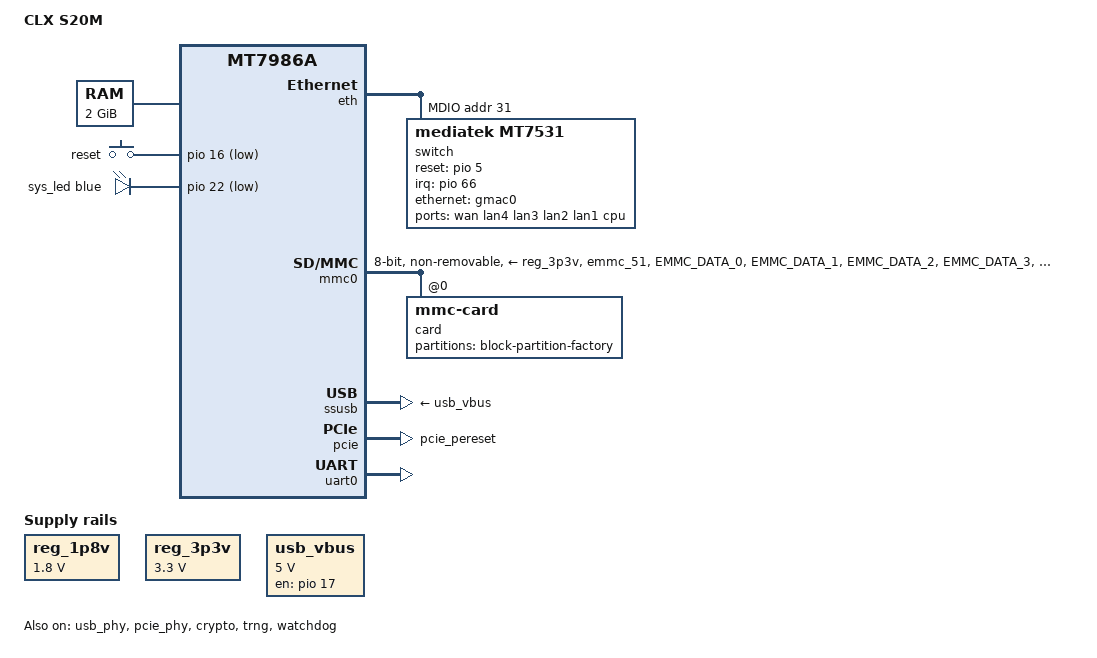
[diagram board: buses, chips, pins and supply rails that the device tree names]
// SPDX-License-Identifier: GPL-2.0-or-later OR MIT

/dts-v1/;
#include <dt-bindings/gpio/gpio.h>
#include <dt-bindings/input/input.h>
#include <dt-bindings/leds/common.h>

#include "mt7986a.dtsi"

/ {
	model = "CLX S20M";
	compatible = "clx,s20m", "mediatek,mt7986a";

	aliases {
		serial0 = &uart0;
		led-boot = &sys_led;
		led-failsafe = &sys_led;
		led-running = &sys_led;
		led-upgrade = &sys_led;
		label-mac-device = &gmac0;
	};

	chosen {
		stdout-path = "serial0:115200n8";
		bootargs-append = " root=PARTLABEL=rootfs rootwait";
	};

	memory {
		reg = <0 0x40000000 0 0x80000000>;
	};

	gpio-keys {
		compatible = "gpio-keys";

		button-reset {
			label = "reset";
			linux,code = <KEY_RESTART>;
			gpios = <&pio 16 GPIO_ACTIVE_LOW>;
		};
	};

	gpio-leds {
		compatible = "gpio-leds";

		sys_led: sys-led {
			function = LED_FUNCTION_STATUS;
			color = <LED_COLOR_ID_BLUE>;
			gpios = <&pio 22 GPIO_ACTIVE_LOW>;
		};
	};

	reg_1p8v: regulator-1p8v {
		compatible = "regulator-fixed";
		regulator-name = "fixed-1.8V";
		regulator-min-microvolt = <1800000>;
		regulator-max-microvolt = <1800000>;
		regulator-boot-on;
		regulator-always-on;
	};

	reg_3p3v: regulator-3p3v {
		compatible = "regulator-fixed";
		regulator-name = "fixed-3.3V";
		regulator-min-microvolt = <3300000>;
		regulator-max-microvolt = <3300000>;
		regulator-boot-on;
		regulator-always-on;
	};

	usb_vbus: regulator-usb-vbus {
		compatible = "regulator-fixed";
		regulator-name = "usb_vbus";
		regulator-min-microvolt = <5000000>;
		regulator-max-microvolt = <5000000>;
		gpios = <&pio 17 GPIO_ACTIVE_HIGH>;
		enable-active-high;
		regulator-boot-on;
	};
};

&eth {
	status = "okay";

	gmac0: mac@0 {
		compatible = "mediatek,eth-mac";
		reg = <0>;
		phy-mode = "2500base-x";
		nvmem-cells = <&macaddr_factory_2a 0>;
		nvmem-cell-names = "mac-address";

		fixed-link {
			speed = <2500>;
			full-duplex;
			pause;
		};
	};

	mdio: mdio-bus {
		#address-cells = <1>;
		#size-cells = <0>;

		switch: switch@1f {
			compatible = "mediatek,mt7531";
			reg = <31>;
			reset-gpios = <&pio 5 GPIO_ACTIVE_HIGH>;
			interrupt-controller;
			#interrupt-cells = <1>;
			interrupt-parent = <&pio>;
			interrupts = <66 IRQ_TYPE_LEVEL_HIGH>;

			ports {
				#address-cells = <1>;
				#size-cells = <0>;

				port@0 {
					reg = <0>;
					label = "wan";

					nvmem-cells = <&macaddr_factory_24 0>;
					nvmem-cell-names = "mac-address";
				};

				port@1 {
					reg = <1>;
					label = "lan4";
				};

				port@2 {
					reg = <2>;
					label = "lan3";
				};

				port@3 {
					reg = <3>;
					label = "lan2";
				};

				port@4 {
					reg = <4>;
					label = "lan1";				
				};

				port@6 {
					reg = <6>;
					label = "cpu";
					ethernet = <&gmac0>;
					phy-mode = "2500base-x";

					fixed-link {
						speed = <2500>;
						full-duplex;
						pause;
					};
				};
			};
		};
	};
};

&mmc0 {
	pinctrl-names = "default", "state_uhs";
	pinctrl-0 = <&mmc0_pins_default>;
	pinctrl-1 = <&mmc0_pins_uhs>;
	bus-width = <8>;
	max-frequency = <200000000>;
	cap-mmc-highspeed;
	mmc-hs200-1_8v;
	mmc-hs400-1_8v;
	hs400-ds-delay = <0x14014>;
	vmmc-supply = <&reg_3p3v>;
	vqmmc-supply = <&reg_1p8v>;
	non-removable;
	no-sd;
	no-sdio;
	status = "okay";

	card@0 {
		compatible = "mmc-card";
		reg = <0>;

		block {
			compatible = "block-device";

			partitions {
				block-partition-factory {
					partname = "factory";

					nvmem-layout {
						compatible = "fixed-layout";
						#address-cells = <1>;
						#size-cells = <1>;

						macaddr_factory_24: macaddr@24 {
							compatible = "mac-base";
							reg = <0x24 0x6>;
							#nvmem-cell-cells = <1>;
						};

						macaddr_factory_2a: macaddr@2a {
							compatible = "mac-base";
							reg = <0x2a 0x6>;
							#nvmem-cell-cells = <1>;
						};
					};
				};
			};
		};
	};
};

&pio {
	mmc0_pins_default: mmc0-pins {
		mux {
			function = "emmc";
			groups = "emmc_51";
		};

		conf-cmd-dat {
			pins = "EMMC_DATA_0", "EMMC_DATA_1", "EMMC_DATA_2",
			       "EMMC_DATA_3", "EMMC_DATA_4", "EMMC_DATA_5",
			       "EMMC_DATA_6", "EMMC_DATA_7", "EMMC_CMD";
			input-enable;
			drive-strength = <4>;
			mediatek,pull-up-adv = <1>;	/* pull-up 10K */
		};

		conf-clk {
			pins = "EMMC_CK";
			drive-strength = <6>;
			mediatek,pull-down-adv = <2>;	/* pull-down 50K */
		};

		conf-ds {
			pins = "EMMC_DSL";
			mediatek,pull-down-adv = <2>;	/* pull-down 50K */
		};

		conf-rst {
			pins = "EMMC_RSTB";
			drive-strength = <4>;
			mediatek,pull-up-adv = <1>;	/* pull-up 10K */
		};
	};

	mmc0_pins_uhs: mmc0-uhs-pins {
		mux {
			function = "emmc";
			groups = "emmc_51";
		};

		conf-cmd-dat {
			pins = "EMMC_DATA_0", "EMMC_DATA_1", "EMMC_DATA_2",
			       "EMMC_DATA_3", "EMMC_DATA_4", "EMMC_DATA_5",
			       "EMMC_DATA_6", "EMMC_DATA_7", "EMMC_CMD";
			input-enable;
			drive-strength = <4>;
			mediatek,pull-up-adv = <1>;	/* pull-up 10K */
		};

		conf-clk {
			pins = "EMMC_CK";
			drive-strength = <6>;
			mediatek,pull-down-adv = <2>;	/* pull-down 50K */
		};

		conf-ds {
			pins = "EMMC_DSL";
			mediatek,pull-down-adv = <2>;	/* pull-down 50K */
		};

		conf-rst {
			pins = "EMMC_RSTB";
			drive-strength = <4>;
			mediatek,pull-up-adv = <1>;	/* pull-up 10K */
		};
	};

	pcie_pins: pcie-pins {
		mux {
			function = "pcie";
			groups = "pcie_pereset";
		};
	};
};

&usb_phy {
	status = "okay";
};

&ssusb {
	vusb33-supply = <&reg_3p3v>;
	vbus-supply = <&usb_vbus>;
	status = "okay";
};

&pcie {
	pinctrl-names = "default";
	pinctrl-0 = <&pcie_pins>;
	status = "okay";
};

&pcie_phy {
	status = "okay";
};

&crypto {
	status = "okay";
};

&trng {
	status = "okay";
};

&uart0 {
	status = "okay";
};

&watchdog {
	status = "okay";
};
